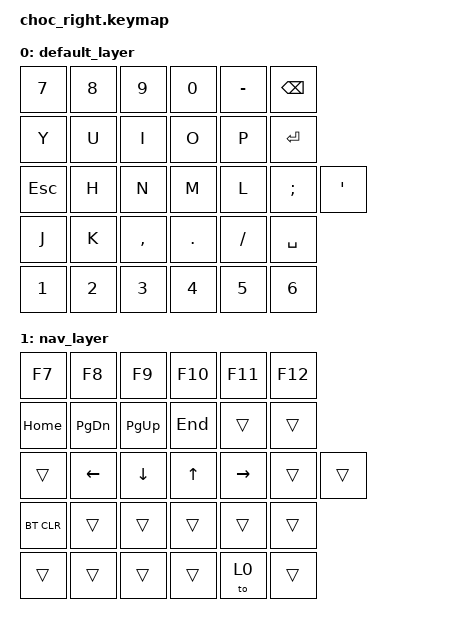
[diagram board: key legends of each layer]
#include <behaviors.dtsi>
#include <dt-bindings/zmk/keys.h>
#include <dt-bindings/zmk/bt.h>

/ {
    keymap {
        compatible = "zmk,keymap";

        default_layer {
// ----------------------------------------------------------------------------
// Layer 0: alpha (top to bottom)
//   col 0 (lone)  col 1    col 2    col 3    col 4    col 5    col 6
//   -----------   -----    -----    -----    -----    -----    -----
// ROW 1 (top):               N7       N8       N9       N0       MINUS    BSPC
// ROW 2:                     Y        U        I        O        P        RET
// ROW 3 (mid):    ESC        H        N        M        L        SEMI     SQT
// ROW 4:                     J        K        COMMA    DOT      FSLH     SPC
// ROW 5 (bot):               N1       N2       N3       N4       N5       N6
// ----------------------------------------------------------------------------
            bindings = <
    &kp N7    &kp N8    &kp N9    &kp N0    &kp MINUS &kp BSPC
    &kp Y     &kp U     &kp I     &kp O     &kp P     &kp RET
    &kp ESC   &kp H     &kp N     &kp M     &kp L     &kp SEMI  &kp SQT
    &kp J     &kp K     &kp COMMA  &kp DOT   &kp FSLH  &kp SPC
    &kp N1    &kp N2    &kp N3    &kp N4    &kp N5    &kp N6
            >;
        };

        nav_layer {
// ----------------------------------------------------------------------------
// Layer 1: nav (top to bottom)
// ----------------------------------------------------------------------------
            bindings = <
    &kp F7    &kp F8   &kp F9   &kp F10  &kp F11   &kp F12
    &kp HOME  &kp PG_DN &kp PG_UP &kp END &trans    &trans
    &trans    &kp LEFT &kp DOWN &kp UP   &kp RIGHT &trans   &trans
    &bt BT_CLR &trans  &trans   &trans   &trans    &trans
    &trans    &trans   &trans   &trans   &to 0      &trans
            >;
        };

    };
};
